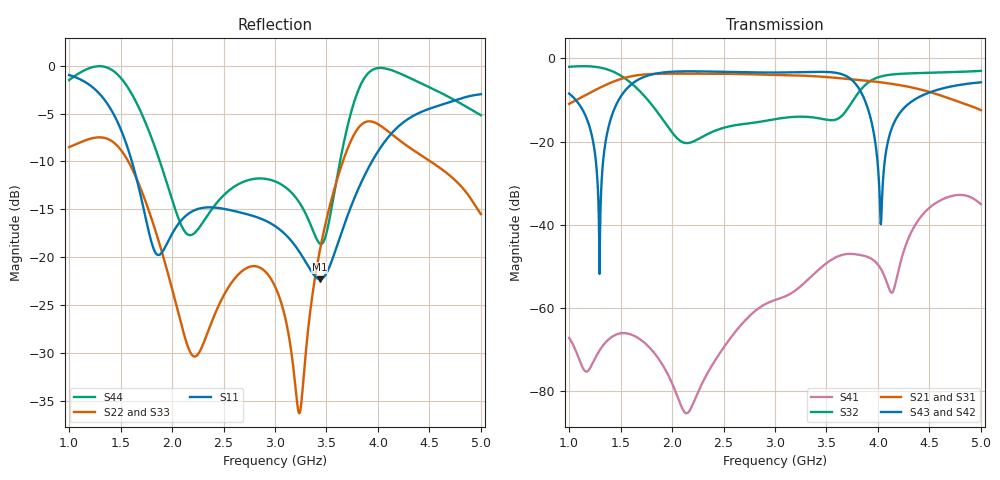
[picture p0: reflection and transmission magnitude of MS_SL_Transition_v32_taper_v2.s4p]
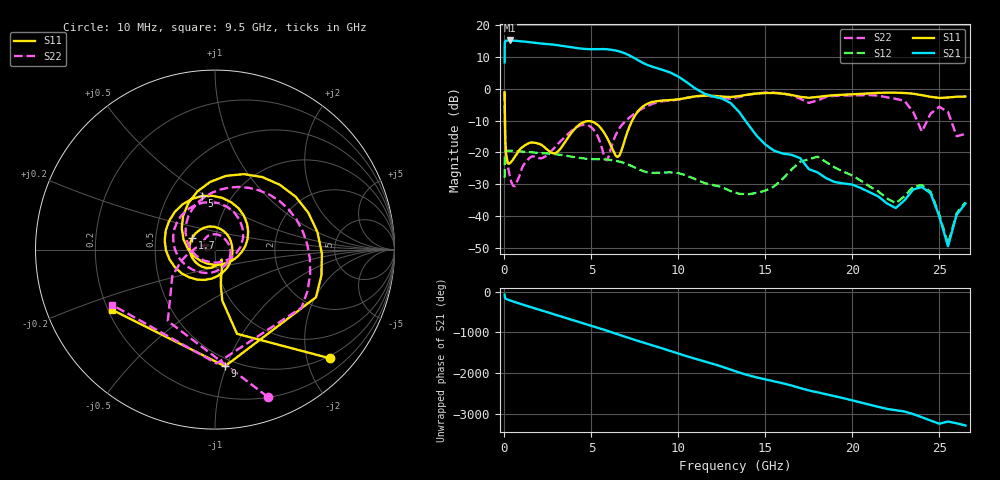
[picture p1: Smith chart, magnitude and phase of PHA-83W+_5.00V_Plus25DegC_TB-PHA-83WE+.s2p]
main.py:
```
from imports import *
from sparam import *
from sources import *
from devices import *

#load the rrc s4p file
freq_rrc, sparams_rrc = read_s4p('MS_SL_Transition_v32_taper_v2.s4p')

# Transfer switch data from manual
transferswitch_datasheet = '''1000.0 0.04 0.04 92.45 100.96 1.01 1.01 1.01 1.01 120.0
1500.0 0.05 0.05 98.61 87.38 1.01 1.01 1.01 1.01 120.0
2000.0 0.06 0.06 100.79 97.34 1.01 1.02 1.01 1.01 120.0
2500.0 0.07 0.06 97.51 104.72 1.03 1.03 1.03 1.02 120.0
3000.0 0.07 0.07 93.32 102.92 1.05 1.05 1.04 1.04 120.0
3500.0 0.08 0.08 98.46 99.72 1.06 1.07 1.05 1.05 120.0
4000.0 0.08 0.08 95.89 93.03 1.07 1.09 1.06 1.06 120.0
4500.0 0.09 0.09 92.30 99.42 1.07 1.09 1.07 1.07 120.0
5000.0 0.10 0.09 95.75 90.70 1.08 1.10 1.07 1.07 120.0'''

transferswitch_metadata_on = [[0], [5,1,4,9], [1,6,9,4], [4,9,6,2], [9,4,2,6]]

#load Transfer switch and interpolate to required length
[sparams_switch_on, _] = interpolate_smatrix_datasheet(ds=transferswitch_datasheet, meta=transferswitch_metadata_on, db_true=True, db_negate=True, req_length=1030, port=4, lim=[1e9,5e9])

transferswitch_metadata_off = [[0], [7,3,2,9], [3,8,9,4], [2,9,8,2], [9,2,3,8]]

#load Transfer switch and interpolate to required length
[sparams_switch_off, _] = interpolate_smatrix_datasheet(ds=transferswitch_datasheet, meta=transferswitch_metadata_off, db_true=True, db_negate=True, req_length=1030, port=4, lim=[1e9,5e9])


#load inputs of TA and convert to V_nu (VSD)
V_nu, apsera_freq = TA_to_V(file='residues.txt', R=50)
print('\nLoaded VSD from Antenna temperature file---------')

# Load amplifier s matrix and interpolate it to apsera freq
freq_amp, sparams_amp = read_s2p('PHA-83W+_5.00V_Plus25DegC_TB-PHA-83WE+.s2p')
amp = interpolate_s_matrix_general(sparams_amp, freq_amp, apsera_freq)
print('\nLoaded Amplifier S matrix and interpolated---------')


#T_A and noise 50 ohms
#trim rrc, switch and amp matrices for use with the V_nu
rrc = interpolate_s_matrix_general(sparams_rrc, freq_rrc, apsera_freq)
switch_on = interpolate_s_matrix_general(sparams_switch_on, freq_rrc, apsera_freq)

#get noise at 50 ohms
freq_res = ((max(apsera_freq) - min(apsera_freq))/len(apsera_freq))
noise_input = noise_50(300,freq_res,len(apsera_freq))


# two inputs ---> switch + rrc(splits) + amplifier ---> two separate output
fig_switch_rrc, b2_rrc, b3_rrc = chain4ports(
    title='switch+rrc', 
    devices_sparam_list=[switch_on, rrc], 
    input1=V_nu, 
    input2=noise_input, 
    cross_input=[0,0], 
    freq_=apsera_freq     )

fig_amptop, b2_top = chain2ports(
    title='amp top', 
    devices_sparam_list=[amp], 
    input1=b2_rrc, 
    freq_=apsera_freq    )

fig_ampbottom, b2_bottom = chain2ports(
    title='amp top', 
    devices_sparam_list=[amp], 
    input1=b3_rrc, 
    freq_=apsera_freq    )


#correlate the output
fig_corr, corr_out = correlator(input1=b2_top, input2=b2_bottom, x=apsera_freq)



### IDEAL CASE
switch_ideal = ideal_switch_gen(apsera_freq)
rrc_ideal = ideal_rrc_gen(apsera_freq)
amp_ideal = ideal_amp_gen(apsera_freq)

# two inputs ---> switch + rrc(splits) + amplifier ---> two separate output
_, b2_rrc_ideal, b3_rrc_ideal = chain4ports(
    title='ideal switch+rrc', 
    devices_sparam_list=[switch_ideal, rrc_ideal], 
    input1=V_nu, input2=noise_input, 
    cross_input=[0,0], 
    freq_=apsera_freq     )

_, b2_top_ideal = chain2ports(
    title='ideal amp top', 
    devices_sparam_list=[amp_ideal], 
    input1=b2_rrc_ideal, 
    freq_=apsera_freq    )

_, b2_bottom_ideal = chain2ports(
    title='ideal amp top', 
    devices_sparam_list=[amp_ideal], 
    input1=b3_rrc_ideal, 
    freq_=apsera_freq    )


#correlate the output
fig_corr_ideal, corr_out = correlator(input1=b2_top_ideal, input2=b2_bottom_ideal, x=apsera_freq)




#T_A and noise 50 ohms
#trim rrc, switch and amp matrices for use with the V_nu
rrc = interpolate_s_matrix_general(sparams_rrc, freq_rrc, apsera_freq)
switch_off = interpolate_s_matrix_general(sparams_switch_off, freq_rrc, apsera_freq)

#get noise at 50 ohms
freq_res = ((max(apsera_freq) - min(apsera_freq))/len(apsera_freq))
noise_input = noise_50(300,freq_res,len(apsera_freq))


# two inputs ---> switch + rrc(splits) + amplifier ---> two separate output
fig_switch_rrc_off, b2_rrc_off, b3_rrc_off = chain4ports(
    title='switch+rrc', 
    devices_sparam_list=[switch_off, rrc], 
    input1=V_nu, 
    input2=noise_input, 
    cross_input=[0,0], 
    freq_=apsera_freq     )

fig_amptop_off, b2_top_off = chain2ports(
    title='amp top', 
    devices_sparam_list=[amp], 
    input1=b2_rrc_off, 
    freq_=apsera_freq    )

fig_ampbottom_off, b2_bottom_off = chain2ports(
    title='amp top', 
    devices_sparam_list=[amp], 
    input1=b3_rrc_off, 
    freq_=apsera_freq    )


#correlate the output
fig_corr, corr_out_off = correlator(input1=b2_top_off, input2=b2_bottom_off, x=apsera_freq)


plt.show()






# ### IDEAL CASE
# switch_ideal = ideal_switch_gen(apsera_freq)
# rrc_ideal = ideal_rrc_gen(apsera_freq)
# amp_ideal = ideal_amp_gen(apsera_freq)
# #send input get outputs for switch
# fig_switch_feed_ideal, b2_switch_ideal, b3_switch_ideal = feeder4port('Ideal switch', switch_ideal, V_nu, noise_input, apsera_freq)
# #send input get outputs for rrc
# fig_rrc_feed_ideal, b2_rrc_ideal, b3_rrc_ideal = feeder4port('Ideal rrc', rrc_ideal, b2_switch, b3_switch, apsera_freq)
# #send input get outputs for amp top
# fig_amptop_feed_ideal, b2_amp_top_ideal = feeder2port('Ideal amplifier top', amp_ideal, b2_rrc, apsera_freq)
# #send input get outputs for amp bottom
# fig_ampbottom_feed_ideal, b2_amp_bottom_ideal = feeder2port('Ideal amplifier bottom', amp_ideal, b3_rrc, apsera_freq)
# #correlate the ideal output
# fig_corr_ideal, corr_out_ideal = correlator(b2_amp_top_ideal, b2_amp_bottom_ideal, apsera_freq)
```
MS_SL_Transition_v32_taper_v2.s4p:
! TOUCHSTONE file generated by CST MICROWAVE STUDIO
! Date and time: Tue Aug  6 17:36:53 2024
! Project name: MS_SL_Transition_v32_taper_v2.cst
! Parameters = {F=14; HS=0.8; LP=10; LP_ext=12.5986; LS=80; L_PH_max=67.9371; L_PH_min=44.695; Lm=19.27; Lmm=19.8; MT=0.0175; PH_i=10; PH_o=50; PH_r=0.5; Rad_L=18.25; Rad_L1=18.25; SL_Stub_Rotate=0; Theta_L0=0.29; Theta_L3=3.328; WP=2.27; WS=120; WS_ext=9.84172; W_PH_max=0.105; W_PH_min=-2.165; W_SL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
! Header version: 2018
! Port assignment regex: !\s*Touchstone port\s*([0-9]+)\s*=\s*(CST MWS port|CST DS port)\s*([0-9]+|Zmin|Zmax)\s*\(\"(.*)\"\)(\s*mode\s*([0-9]+))?.*
! Touchstone port assignment:
! Touchstone port 1 = CST MWS port 1 ("")
! Touchstone port 2 = CST MWS port 2 ("")
! Touchstone port 3 = CST MWS port 3 ("")
! Touchstone port 4 = CST MWS port 4 ("")
# GHz S MA R 50
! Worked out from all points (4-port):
!   1030 points, 1 GHz to 5 GHz, reference 50 ohm
!   strongest paths, dB at 1 GHz, 2.008 GHz, 3 GHz, 3.988 GHz, 5 GHz:
!     S43: -8.5, -3.2, -3.4, -22.9, -5.8
!     S42: -8.5, -3.2, -3.4, -22.8, -5.7
!     S21: -10.9, -3.7, -4.0, -5.7, -12.5
!     S31: -10.9, -3.7, -4.0, -5.7, -12.4
!     S32: -2.0, -18.0, -14.6, -4.7, -3.0
!     S41: -67.1, -78.5, -58.1, -49.2, -35.0
!   lowest |S11| = -22.3 dB at 3.436 GHz (marker M1), VSWR 1.17, Z = 43.7 - j3.52 ohm
!   |S11| at or under -10 dB: 1.61 GHz to 3.942 GHz (2.332 GHz wide, 84 % of centre)
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1  0.8938 -16.4  0.2835 -88.9  0.2836 91.2  0.0004389 142.2
   0.2835 -88.9  0.3758 80.5  0.7913 176.3  0.3771 -159.8
   0.2836 91.2  0.7913 176.3  0.3755 80.6  0.3774 -159.8
   0.0004395 142.3  0.3771 -159.8  0.3774 -159.8  0.8417 70.0
3.436  0.07674 -148.5  0.6031 36.6  0.603 -143.8  0.002981 -40.4
       0.6031 36.6  0.1088 36.9  0.1892 -95.6  0.686 -50.9
       0.603 -143.8  0.1892 -95.6  0.1091 36.0  0.6873 -51.1
       0.002981 -40.4  0.686 -50.9  0.6873 -51.1  0.1178 139.5
5  0.7097 86.3  0.238 30.2  0.2395 -150.4  0.0177 -30.5
   0.238 30.2  0.1681 130.2  0.7054 0.2  0.5207 172.4
   0.2395 -150.4  0.7054 0.2  0.1687 130.0  0.5145 171.3
   0.0177 -30.5  0.5207 172.4  0.5145 171.3  0.5512 148.1
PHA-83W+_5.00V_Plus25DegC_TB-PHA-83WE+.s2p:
!Keysight Technologies,N5242A,MY48320684,A.10.49.08
!Date: Wednesday, August 21, 2019 10:23:46
!Correction: S11(Full 2 Port(1,2))
!S21(Full 2 Port(1,2))
!S12(Full 2 Port(1,2))
!S22(Full 2 Port(1,2))
!S2P File: Measurements: S11, S21, S12, S22:
# Hz S  dB  R 50
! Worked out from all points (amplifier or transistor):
!   130 points, 10 MHz to 26.5 GHz, reference 50 ohm
!   highest |S21| = 15.2 dB at 300 MHz (marker M1)
!   |S21| within 3 dB of that: 16.99 MHz to 6.224 GHz (6.207 GHz wide, 199 % of centre)
!   unconditionally stable (mu >= 1): start of sweep to end of sweep
!   at 1.3 GHz: K = 1.16, MAG = 14.9 dB, |S12| = -19.8 dB
!   at 5.7 GHz: K = 1.63, MAG = 12.7 dB, |S12| = -22.2 dB
!   at 26.5 GHz: K = 800.70, MAG = -32.2 dB, |S12| = -35.7 dB
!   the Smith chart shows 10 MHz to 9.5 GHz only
!   S11 on the Smith chart (normalised r, x): 10 MHz: 0.45, -2.44; 1.7 GHz: 0.77, +0.10; 5 GHz: 0.73, +0.48; 9 GHz: 0.44, -0.99; 9.5 GHz: 0.22, -0.26
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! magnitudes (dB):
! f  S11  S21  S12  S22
! 10 MHz  -1.1  8.3  -27.9  -1.2
! 300 MHz  -23.5  15.2  -19.4  -27.2
! 1.7 GHz  -16.9  14.5  -20.0  -21.3
! 5 GHz  -10.3  12.5  -22.1  -12.1
! 9 GHz  -3.7  6.1  -26.4  -4.0
! 9.5 GHz  -3.6  5.2  -26.3  -3.7
! 13.5 GHz  -2.3  -7.3  -33.0  -2.6
! 18 GHz  -2.6  -26.3  -21.3  -3.6
! 24 GHz  -2.0  -30.9  -30.2  -13.4
! 25.5 GHz  -2.7  -49.5  -48.8  -7.3
! 26.5 GHz  -2.4  -36.1  -35.7  -14.2
